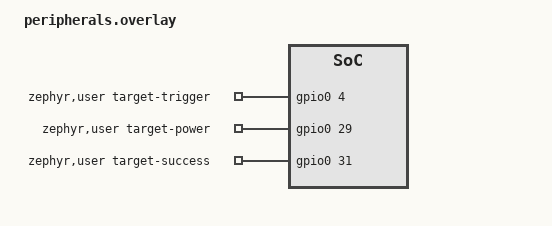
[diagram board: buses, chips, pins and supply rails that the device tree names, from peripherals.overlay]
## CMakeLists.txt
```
# mkdir build
# cd build
# cmake -GNinja ..
# ninja

# Options
set(BOARD nrf52840dk_nrf52840)
#set(CONF_FILE prj.conf)
set(DTC_OVERLAY_FILE peripherals.overlay)


# Find Zephyr. This also loads Zephyr's build system.
cmake_minimum_required(VERSION 3.13.1)
find_package(Zephyr)
project(spike)

# Add your source file to the "app" target. This must come after
# find_package(Zephyr) which defines the target.
target_sources(app PRIVATE src/main.cpp)
```

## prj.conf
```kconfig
CONFIG_CPLUSPLUS=y
CONFIG_PRINTK=y
CONFIG_COUNTER=y
CONFIG_COUNTER_TIMER0=y
```

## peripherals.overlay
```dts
// Device Tree overlay
// These pin mappings are for an NRF52840 DK board.
// Change them to whatever is most convenient for your use.

/ {

  zephyr,user {
      /* Signal from the target device to synhronize */
      target-trigger-gpios = <&gpio0 4 GPIO_ACTIVE_HIGH>;

      /* Signal controlling the target's power supply */
      target-power-gpios = <&gpio0 29 GPIO_ACTIVE_HIGH>;

      /* Signal from the target device that glitching succeeded. */
      target-success-gpios = <&gpio0 31 GPIO_ACTIVE_HIGH>;
  };

};
```

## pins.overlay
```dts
// These pin mappings are for an NRF52840 DK board.
// Change them to whatever is most convenient for your use.

/ {
  zephyr,user {
      /* Signal from the target device to synhronize */
      target_trigger_gpios = <&gpio0 31 GPIO_ACTIVE_HIGH>;

      /* Signal controlling the target's power supply */
      target_power_gpios = <&gpio0 29 GPIO_ACTIVE_HIGH>;

      /* Signal from the target device that glitching succeeded. */
      target_success_gpios = <&gpio0 4 GPIO_ACTIVE_HIGH>;
  };

};
```

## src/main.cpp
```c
#include <zephyr.h>
#include <device.h>
#include <drivers/counter.h>
#include <drivers/gpio.h>
#include <sys/printk.h>

#include "settings.h"

/*
 * Current application state
 */

enum GlitchState {
  IDLE = 0,
  START,
  TUNE_GLITCH,
  WAIT_TRIGGER,
  WAIT_GLITCH,
  GLITCHING,
};

struct {
  uint32_t offset_ns = 4000000;
  uint32_t duration_us = 1000;    // Probably too long.
                                  // This is used as a starting point for tuning.

  // State while tuning parameters
  struct {
    uint32_t success = 0;
  } tune;

  GlitchState state = IDLE;
} GLITCH;

const struct device *timer_device;

/*
 * Interface to target device
 */

// GPIO mappings from the devicetree
// If you want to use other pins, change peripherals.overlay
#define ZEPHYR_USER_NODE DT_PATH(zephyr_user)
const struct gpio_dt_spec pin_trigger = GPIO_DT_SPEC_GET(ZEPHYR_USER_NODE, target_trigger_gpios);
const struct gpio_dt_spec pin_power = GPIO_DT_SPEC_GET(ZEPHYR_USER_NODE, target_power_gpios);
const struct gpio_dt_spec pin_success = GPIO_DT_SPEC_GET(ZEPHYR_USER_NODE, target_success_gpios);


/*
 * Timeout on the trigger signal
 * This will force a hard reset of the target device
 */

void set_target_power(bool on) {
  gpio_pin_set_dt(&pin_power, on);
}

void cut_target_power(uint32_t us) {
  set_target_power(false);
  k_busy_wait(us);
  set_target_power(true);
};

struct k_timer timeout_timer;

void timeout_fun(struct k_timer* timer) {

  if (GLITCH.state != WAIT_TRIGGER) return;

  printk("Target crashed. Resetting. Glitch delay: %u ns. Glitch length: %u us.\n",
         GLITCH.offset_ns, GLITCH.duration_us);

  cut_target_power(RESET_US);

}



/*
 * Timing of the glitch signal
 */

struct k_timer glitch_timer;

void glitch_fun(struct k_timer* timer) {

  if (GLITCH.state != WAIT_GLITCH) return;

  GLITCH.state = GLITCHING;
  cut_target_power(GLITCH.duration_us);

  //printk("Sent glitch.\n");

  GLITCH.state = WAIT_TRIGGER;

  // Set up the timeout, in case we crash the target
  k_timer_start(&timeout_timer, K_USEC(TIMEOUT_US), K_NO_WAIT);

}

/*
 * Trigger from the target device
 * Start counting down to the glitch
 */

static struct gpio_callback trigger_cb_data;

void trigger_isv(const struct device* dev,
                      struct gpio_callback *cb,
                      uint32_t pins) {
  if (GLITCH.state == START) {
    printk("Initial trigger signal received. Starting glitch delay.\n");
    GLITCH.state = WAIT_TRIGGER;
  }

  if (GLITCH.state == TUNE_GLITCH) {
    GLITCH.tune.success += 1;
    return;
  }

  if (GLITCH.state != WAIT_TRIGGER) return;

  // Looks like the target didn't crash after all. Nice.
  k_timer_stop(&timeout_timer);

  // TODO: Detect offset longer than trigger period
  GLITCH.state = WAIT_GLITCH;
  GLITCH.offset_ns += 100;
  k_timer_start(&glitch_timer, K_NSEC(GLITCH.offset_ns), K_NO_WAIT);

}


void stop_all() {
  GLITCH.state = IDLE;
  k_timer_stop(&timeout_timer);
  k_timer_stop(&glitch_timer);
}

/*
 * Success signal from the target device
 * Stop all the glitching and report the success
 */
static struct gpio_callback success_cb_data;

void success_isv(const struct device* dev,
                      struct gpio_callback *cb,
                      uint32_t pins) {
  printk("Success signal received. Glitch delay: %u ns. Glitch length: %u us.\n",
         GLITCH.offset_ns, GLITCH.duration_us);

  stop_all();

}


bool setup_interrupts() {
  // Pin change interrupt for the trigger signal
  // As soon as that pin has a leading edge, we start the countdown to glitch.
  // Using ACTIVE rather than HIGH here means we respect the ACTIVE_HIGH setting in the
  // device tree. Feel free to flip that to ACTIVE_LOW if your trigger signal is that way.
  int ret = gpio_pin_interrupt_configure_dt(&pin_trigger, GPIO_INT_EDGE_TO_ACTIVE);
  if (ret != 0) {
    printk("Error %d: Unable to configure pin interrupt for trigger signal.\n", ret);
    return false;
  }

  gpio_init_callback(&trigger_cb_data, trigger_isv, BIT(pin_trigger.pin));

  ret = gpio_add_callback(pin_trigger.port, &trigger_cb_data);
  if (ret != 0) {
    printk("Error %d: Unable to register callback for trigger signal.\n", ret);
    return false;
  }


  // Pin change interrupt for the success signal
  ret = gpio_pin_interrupt_configure_dt(&pin_success, GPIO_INT_EDGE_TO_ACTIVE);
  if (ret != 0) {
    printk("Error %d: Unable to configure pin interrupt for success signal.\n", ret);
    return false;
  }

  gpio_init_callback(&success_cb_data, success_isv, BIT(pin_success.pin));

  ret = gpio_add_callback(pin_success.port, &success_cb_data);
  if (ret != 0) {
    printk("Error %d: Unable to register callback for success signal.\n", ret);
    return false;
  }

  return true;

}

bool setup_timer() {

  return true;
}

uint32_t tune_glitch_length() {
  // Try different glitch lengths and find the longest one that
  // reliably doesn't crash the target device.

  // Start at something very long, it should crash the device.
  uint32_t duration = TUNE_DURATION_MAX;
  int32_t step = -(TUNE_INITIAL_STEP);

  GLITCH.state = TUNE_GLITCH;

  uint32_t best_count = 1;
  uint32_t best_duration = 0;

  set_target_power(true);

  // Keep shortening until the device stops crashing
  while (duration > 0) {

    GLITCH.tune.success = 0;

    for (uint32_t n=0; n<1000; n++) {
      cut_target_power(duration);
      k_busy_wait(1000);
    }

    uint32_t count = GLITCH.tune.success;

    if (count >= best_count) {
      // The device didn't super crash
      best_count = GLITCH.tune.success;
      best_duration = duration;

      // Start stepping upward
      if (count >= TUNE_TRIGGERS_PER_SECOND-1) {
        step = duration / 20;
        printk("Survived glitch duration %u. Tip-toeing upward.\n", duration);
      }
    } else {
      if (step > 0) {
        // We've started increasing the duration and the device crashed.
        // That means the previous best duration is our bound.
        break;
      }
    }

    //printk("Tried glitch duration of %u us, survived %u trigger cycles.\n", 
    //       duration, GLITCH.tune.success);

    duration += step;
  }

  set_target_power(false);

  printk("Settled on glitch duration of %u us, which passed %u trigger cycles.\n", 
         best_duration, best_count);
  GLITCH.state = IDLE;

  return best_duration;
}


int main() {

  printk("Booting up SPIKE\n");

  k_timer_init(&timeout_timer, timeout_fun, NULL);
  k_timer_init(&glitch_timer, glitch_fun, NULL);

  gpio_pin_configure_dt(&pin_trigger, GPIO_INPUT);
  gpio_pin_configure_dt(&pin_power, GPIO_OUTPUT_LOW);
  gpio_pin_configure_dt(&pin_success, GPIO_INPUT);

  if (!setup_interrupts()) return 1;


  printk("Tuning glitch duration...\n");
  GLITCH.duration_us = tune_glitch_length();

  GLITCH.state = START;

  printk("Starting up target...\n");
  cut_target_power(RESET_US);
  printk("Target started. Waiting for trigger.\n");


  while (true) { k_sleep(K_FOREVER); }

  return 0;
}
```

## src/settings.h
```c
#define TIMEOUT_US 1000000
#define RESET_US 300000

// Settings used to auto-tune the glitch length
#define TUNE_DURATION_MAX 800   // Something long enough to crash the target
#define TUNE_INITIAL_STEP (TUNE_DURATION_MAX / 10)
#define TUNE_TRIGGERS_PER_SECOND 6  // Expected trigger count 1s after boot
```
